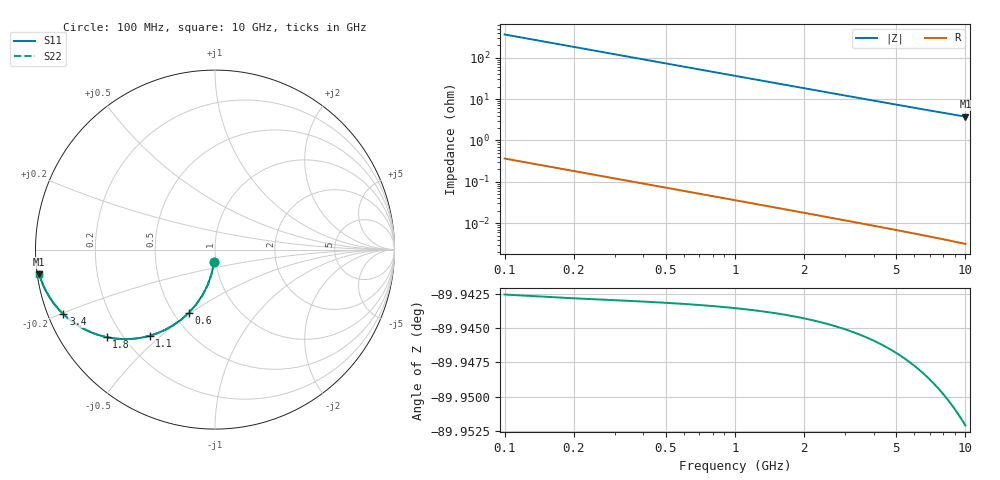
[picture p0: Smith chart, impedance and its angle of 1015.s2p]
# Hz S RI R 50.00
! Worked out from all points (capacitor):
!   100 points, 100 MHz to 10 GHz, reference 50 ohm
!   read as one part in shunt: C = 4.37 pF near 100 MHz
!   lowest |Z| = 3.76 ohm at 10 GHz (marker M1)
!   S11 on the Smith chart (normalised r, x): 100 MHz: 0.98, -0.13; 600 MHz: 0.60, -0.49; 1.1 GHz: 0.31, -0.46; 1.8 GHz: 0.14, -0.35; 3.4 GHz: 0.04, -0.20; 10 GHz: 0.01, -0.07
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1e8  -0.00474 -0.0683  0.9952 -0.0684  0.9952 -0.0684  -0.00474 -0.0683
2e8  -0.0186 -0.1347  0.9813 -0.1349  0.9813 -0.1349  -0.0186 -0.1347
3e8  -0.0409 -0.1974  0.9591 -0.1977  0.9591 -0.1977  -0.0409 -0.1974
4e8  -0.0704 -0.2551  0.9296 -0.2555  0.9296 -0.2555  -0.0704 -0.2551
5e8  -0.1057 -0.3067  0.8943 -0.3072  0.8943 -0.3072  -0.1057 -0.3067
6e8  -0.1453 -0.3517  0.8546 -0.3523  0.8546 -0.3523  -0.1453 -0.3517
7e8  -0.1879 -0.3898  0.812 -0.3905  0.812 -0.3905  -0.1879 -0.3898
8e8  -0.232 -0.4212  0.7679 -0.422  0.7679 -0.422  -0.232 -0.4212
9e8  -0.2765 -0.4463  0.7234 -0.4473  0.7234 -0.4473  -0.2765 -0.4463
1.1e9  -0.3633 -0.4799  0.6366 -0.481  0.6366 -0.481  -0.3633 -0.4799
1.4e9  -0.4802 -0.4984  0.5198 -0.4998  0.5198 -0.4998  -0.4802 -0.4984
1.6e9  -0.5467 -0.4965  0.4533 -0.4982  0.4533 -0.4982  -0.5467 -0.4965
1.8e9  -0.6041 -0.4876  0.3959 -0.4895  0.3959 -0.4895  -0.6041 -0.4876
2.1e9  -0.6748 -0.4668  0.3251 -0.469  0.3251 -0.469  -0.6748 -0.4668
2.5e9  -0.7462 -0.4334  0.2538 -0.436  0.2538 -0.436  -0.7462 -0.4334
2.9e9  -0.7981 -0.3994  0.2018 -0.4024  0.2018 -0.4024  -0.7981 -0.3994
3.4e9  -0.8445 -0.3601  0.1555 -0.3637  0.1555 -0.3637  -0.8445 -0.3601
4.2e9  -0.8922 -0.3073  0.1077 -0.3118  0.1077 -0.3118  -0.8922 -0.3073
5.1e9  -0.9242 -0.2613  0.0757 -0.2668  0.0757 -0.2668  -0.9242 -0.2613
6.7e9  -0.9546 -0.2039  0.0453 -0.2111  0.0453 -0.2111  -0.9546 -0.2039
8.4e9  -0.9707 -0.1635  0.0292 -0.1725  0.0292 -0.1725  -0.9707 -0.1635
1e10  -0.9792 -0.1366  0.0207 -0.1475  0.0207 -0.1475  -0.9792 -0.1366
